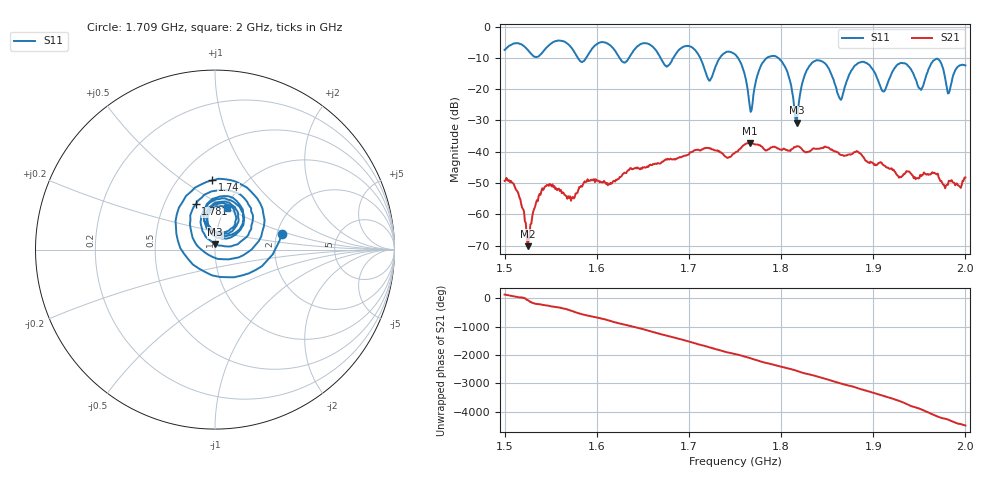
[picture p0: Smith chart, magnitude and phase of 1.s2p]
! NanoVNA-App by SYSJOINT et al v1.1.209 (+OD18)
! Date: 2026-01-21 14:25:51
! Start: 1,5GHz Stop: 2GHz Points: 501
! S-Parameter data: F S11 S21 S12 S22
# Hz S RI R 50
!  Frequency  S11_Real  S11_Imag  S21_Real  S21_Imag  S12_Real  S12_Imag  S22_Real  S22_Imag
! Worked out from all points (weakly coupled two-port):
!   501 points, 1.5 GHz to 2 GHz, reference 50 ohm
!   highest |S21| = -37.17 dB at 1.766 GHz (marker M1); lowest = -70.1 dB at 1.525 GHz (marker M2)
!   lowest |S11| = -30.7 dB at 1.817 GHz (marker M3), VSWR 1.06, Z = 50 + j2.92 ohm
!   |S11| at or under -10 dB: 1.712 GHz to 1.734 GHz (21.38 MHz wide, 1.24 % of centre); 1.753 GHz to 1.785 GHz (31.41 MHz wide, 1.78 % of centre); 1.797 GHz to end of sweep (the widest 3 of 6)
!   S12 and S22 are empty: the file has one direction only
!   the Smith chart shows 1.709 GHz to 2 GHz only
!   S11 on the Smith chart (normalised r, x): 1.709 GHz: 2.12, +0.44; 1.74 GHz: 0.72, +0.65; 1.781 GHz: 0.72, +0.39; 2 GHz: 1.02, +0.50
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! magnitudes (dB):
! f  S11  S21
! 1.5 GHz  -7.5  -49.3
! 1.525 GHz  -7.4  -70.1
! 1.543 GHz  -7.6  -51.5
! 1.584 GHz  -11.4  -51.1
! 1.667 GHz  -8.9  -43.6
! 1.709 GHz  -8.4  -39.3
! 1.722 GHz  -17.3  -38.8
! 1.74 GHz  -8.3  -41.6
! 1.75 GHz  -8.9  -40.3
! 1.766 GHz  -25.3  -37.2
! 1.781 GHz  -11.2  -39.0
! 1.802 GHz  -11.7  -39.1
! 1.817 GHz  -30.7  -38.3
! 1.834 GHz  -11.5  -39.1
! 1.864 GHz  -23.1  -40.9
! 1.886 GHz  -11.4  -40.5
! 1.917 GHz  -17.0  -45.3
! 1.933 GHz  -11.8  -47.1
! 1.952 GHz  -20.2  -47.8
! 1.969 GHz  -10.3  -47.2
! 1.982 GHz  -21.3  -49.2
! 2 GHz  -12.4  -48.2
